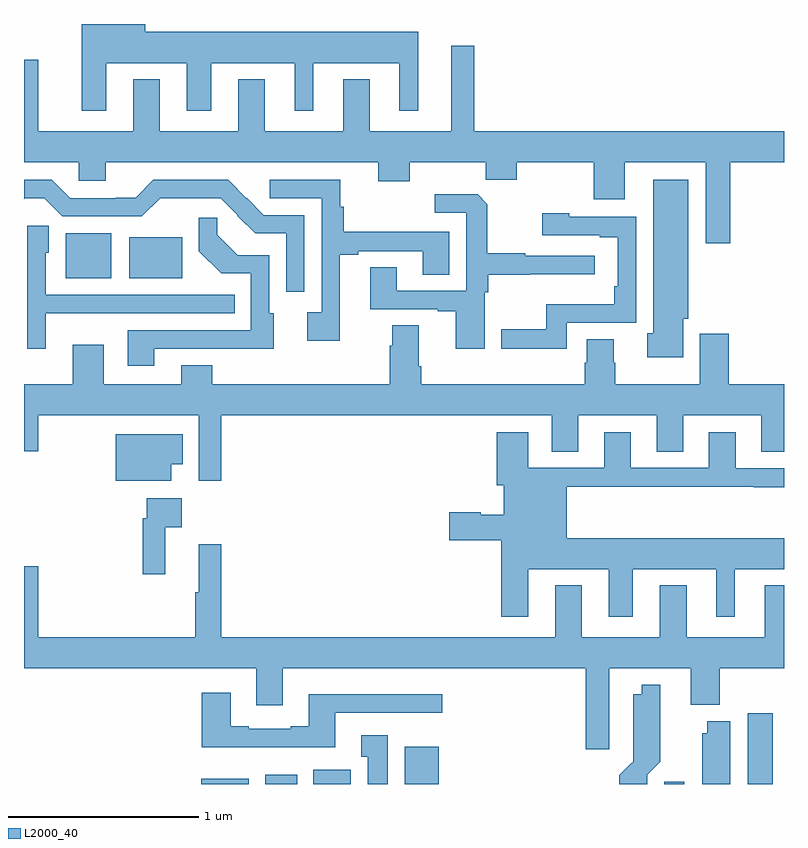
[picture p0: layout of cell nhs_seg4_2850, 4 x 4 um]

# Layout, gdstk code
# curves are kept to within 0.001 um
import gdstk
lib = gdstk.Library(unit=1e-6, precision=1e-09)
def R(c, l, rs):  # rectangles x0, y0, x1, y1
    for r in rs: c.add(gdstk.rectangle(r[:2], r[2:], *l))
def P(c, l, *ps):  # polygons
    for p in ps: c.add(gdstk.Polygon(p, *l))
L2000_40 = (2000, 40)

nhs_seg4_2850 = lib.new_cell('nhs_seg4_2850')
R(nhs_seg4_2850, L2000_40, [(261.932,774.9,262.183,774.928), (262.271,774.9,262.438,774.949), (262.523,774.9,262.72,774.976), (263.003,774.9,263.182,775.096), (264.371,774.9,264.475,774.913), (264.809,774.9,264.941,775.273), (261.221,777.563,261.46,777.799), (261.554,777.563,261.832,777.778)])
P(nhs_seg4_2850, L2000_40, [(261.433,778.694),(261.857,778.694),(261.857,778.443),(261.985,778.443),(261.985,778.694),(262.424,778.694),(262.424,778.443),(262.522,778.443),(262.522,778.694),(262.976,778.694),(262.976,778.443),(263.074,778.443),(263.074,778.858),(261.637,778.858),(261.637,778.9),(261.305,778.9),(261.305,778.443),(261.433,778.443)],
  [(264.716,778.172),(265,778.172),(265,778.336),(263.371,778.336),(263.371,778.786),(263.249,778.786),(263.249,778.336),(262.819,778.336),(262.819,778.609),(262.679,778.609),(262.679,778.336),(262.267,778.336),(262.267,778.609),(262.127,778.609),(262.127,778.336),(261.715,778.336),(261.715,778.609),(261.575,778.609),(261.575,778.336),(261.076,778.336),(261.076,778.711),(261,778.711),(261,778.172),(261.288,778.172),(261.288,778.074),(261.43,778.074),(261.43,778.172),(262.865,778.172),(262.865,778.073),(263.029,778.073),(263.029,778.172),(263.429,778.172),(263.429,778.079),(263.593,778.079),(263.593,778.172),(263.999,778.172),(263.999,777.978),(264.163,777.978),(264.163,778.172),(264.587,778.172),(264.587,777.747),(264.716,777.747)],
  [(264.469,777.348),(264.496,777.348),(264.496,778.081),(264.311,778.081),(264.311,777.272),(264.281,777.272),(264.281,777.146),(264.469,777.146)],
  [(262.476,777.894),(262.263,777.894),(262.075,778.08),(261.681,778.08),(261.587,777.986),(261.482,777.986),(261.482,777.984),(261.243,777.984),(261.147,778.08),(261,778.08),(261,777.978),(261.005,777.983),(261.106,777.983),(261.201,777.888),(261.621,777.888),(261.716,777.983),(262.035,777.984),(262.125,777.894),(262.123,777.892),(262.217,777.798),(262.38,777.798),(262.38,777.492),(262.476,777.492)],
  [(262.663,777.685),(262.759,777.685),(262.759,777.705),(263.099,777.705),(263.099,777.58),(263.239,777.58),(263.239,777.806),(262.682,777.806),(262.682,777.938),(262.664,777.938),(262.664,778.08),(262.293,778.08),(262.293,777.984),(262.566,777.984),(262.566,777.382),(262.491,777.382),(262.491,777.234),(262.663,777.234)],
  [(263.424,777.488),(263.444,777.488),(263.444,777.58),(263.663,777.58),(263.663,777.584),(264.004,777.584),(264.004,777.681),(263.639,777.681),(263.639,777.694),(263.439,777.694),(263.439,777.951),(263.387,778.003),(263.163,778.003),(263.163,777.906),(263.328,777.906),(263.328,777.495),(262.963,777.495),(262.963,777.62),(262.823,777.62),(262.823,777.399),(263.177,777.399),(263.177,777.387),(263.273,777.387),(263.273,777.192),(263.424,777.192)],
  [(263.856,777.327),(264.222,777.327),(264.222,777.885),(263.871,777.885),(263.871,777.904),(263.727,777.904),(263.727,777.789),(264.029,777.789),(264.029,777.777),(264.126,777.777),(264.126,777.52),(264.106,777.52),(264.106,777.424),(263.748,777.424),(263.748,777.293),(263.511,777.293),(263.511,777.191),(263.856,777.191)],
  [(261.685,777.192),(262.315,777.191),(262.315,777.378),(262.29,777.378),(262.29,777.684),(262.124,777.684),(262.016,777.792),(262.016,777.88),(261.921,777.88),(261.921,777.704),(262.037,777.588),(262.194,777.588),(262.194,777.288),(261.545,777.288),(261.545,777.102),(261.685,777.102)],
  [(261.115,777.377),(261.449,777.377),(261.449,777.378),(262.109,777.378),(262.109,777.474),(261.114,777.474),(261.114,777.696),(261.13,777.696),(261.13,777.839),(261.018,777.839),(261.018,777.192),(261.115,777.192)],
  [(263.777,776.65),(263.917,776.65),(263.917,776.84),(264.329,776.84),(264.329,776.65),(264.469,776.65),(264.469,776.84),(264.881,776.84),(264.881,776.65),(265,776.65),(265,777.004),(264.71,777.004),(264.71,777.271),(264.557,777.271),(264.557,777.004),(264.111,777.004),(264.111,777.117),(264.103,777.117),(264.103,777.242),(263.963,777.242),(263.963,777.117),(263.951,777.117),(263.951,777.004),(263.09,777.004),(263.09,777.1),(263.077,777.1),(263.077,777.314),(262.937,777.314),(262.937,777.206),(262.925,777.206),(262.925,777.004),(261.991,777.004),(261.991,777.103),(261.827,777.103),(261.827,777.004),(261.421,777.004),(261.421,777.211),(261.257,777.211),(261.257,777.004),(261,777.004),(261,776.652),(261.076,776.652),(261.076,776.84),(261.921,776.84),(261.921,776.496),(262.037,776.496),(262.037,776.84),(263.777,776.84)],
  [(263.653,776.03),(264.077,776.03),(264.077,775.779),(264.205,775.779),(264.205,776.03),(264.644,776.03),(264.644,775.779),(264.742,775.779),(264.742,776.03),(265,776.03),(265,776.194),(263.857,776.194),(263.857,776.464),(264.841,776.464),(264.841,776.462),(265,776.462),(265,776.562),(264.745,776.562),(264.745,776.752),(264.605,776.752),(264.605,776.565),(264.193,776.565),(264.193,776.752),(264.053,776.752),(264.053,776.565),(263.653,776.565),(263.653,776.752),(263.489,776.752),(263.489,776.472),(263.525,776.472),(263.525,776.317),(263.405,776.317),(263.405,776.33),(263.238,776.33),(263.238,776.183),(263.513,776.183),(263.513,775.779),(263.653,775.779)],
  [(261.775,776.582),(261.836,776.582),(261.836,776.74),(261.482,776.74),(261.482,776.495),(261.775,776.495)],
  [(261.743,776.252),(261.829,776.252),(261.829,776.404),(261.645,776.404),(261.645,776.3),(261.625,776.3),(261.625,776.004),(261.743,776.004)],
  [(264.079,775.508),(264.509,775.508),(264.509,775.316),(264.662,775.316),(264.662,775.508),(265,775.508),(265,775.945),(264.899,775.945),(264.899,775.672),(264.487,775.672),(264.487,775.945),(264.347,775.945),(264.347,775.672),(263.935,775.672),(263.935,775.945),(263.795,775.945),(263.795,775.672),(262.037,775.672),(262.037,776.161),(261.92,776.161),(261.92,775.908),(261.901,775.908),(261.901,775.672),(261.076,775.672),(261.076,776.047),(261,776.047),(261,775.508),(262.223,775.508),(262.223,775.314),(262.363,775.314),(262.363,775.508),(263.957,775.508),(263.957,775.083),(264.079,775.083)],
  [(264.279,774.948),(264.349,775.018),(264.348,775.423),(264.251,775.423),(264.251,775.372),(264.206,775.372),(264.206,775.018),(264.134,774.946),(264.134,774.9),(264.279,774.9)],
  [(262.639,775.275),(263.2,775.275),(263.2,775.372),(262.499,775.372),(262.499,775.204),(262.403,775.204),(262.403,775.191),(262.183,775.191),(262.183,775.204),(262.087,775.204),(262.087,775.381),(261.935,775.381),(261.935,775.094),(262.639,775.094)],
  [(264.718,775.231),(264.596,775.231),(264.596,775.167),(264.569,775.167),(264.569,774.9),(264.718,774.9)],
  [(262.915,775.156),(262.775,775.156),(262.775,775.043),(262.808,775.043),(262.808,774.9),(262.915,774.9)])

lib.write_gds('nhs_seg4_2850.gds')
